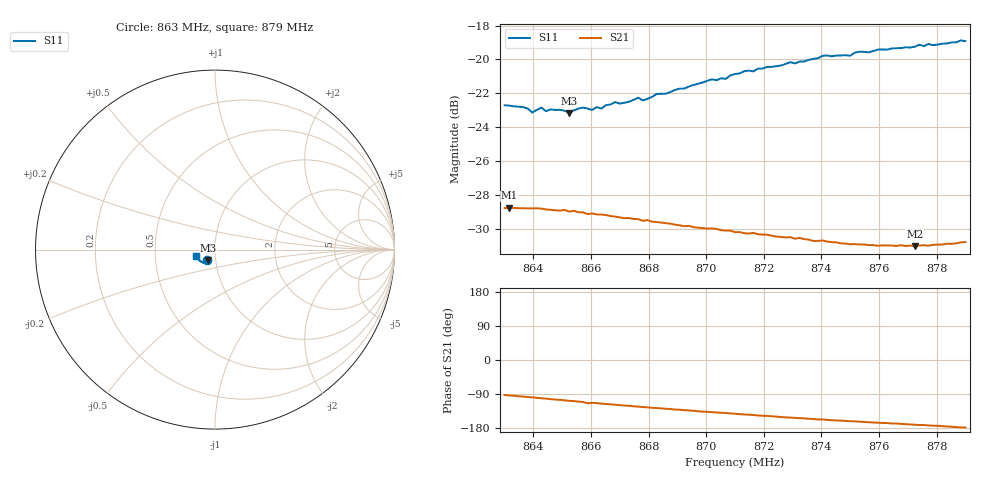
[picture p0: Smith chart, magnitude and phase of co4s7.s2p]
# HZ S RI R 50
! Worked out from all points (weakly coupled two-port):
!   101 points, 863 MHz to 879 MHz, reference 50 ohm
!   highest |S21| = -28.77 dB at 863.16 MHz (marker M1); lowest = -31.0 dB at 877.24 MHz (marker M2)
!   lowest |S11| = -23.2 dB at 865.24 MHz (marker M3), VSWR 1.15, Z = 46.1 - j5.41 ohm
!   |S11| at or under -10 dB: start of sweep to end of sweep
!   S12 and S22 are empty: the file has one direction only
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8.63e8  -0.0444 -0.0582  -0.00155 -0.0363  0 0  0 0
8.6316e8  -0.0433 -0.0589  -0.00232 -0.0364  0 0  0 0
8.638e8  -0.0415 -0.0584  -0.00485 -0.036  0 0  0 0
8.6396e8  -0.0396 -0.0573  -0.00543 -0.0359  0 0  0 0
8.6428e8  -0.0401 -0.0598  -0.00693 -0.0356  0 0  0 0
8.6444e8  -0.0389 -0.0585  -0.00743 -0.0353  0 0  0 0
8.6492e8  -0.0383 -0.0598  -0.00933 -0.0345  0 0  0 0
8.6524e8  -0.0377 -0.0584  -0.0108 -0.0338  0 0  0 0
8.6572e8  -0.0367 -0.062  -0.0126 -0.033  0 0  0 0
8.6636e8  -0.038 -0.0606  -0.0148 -0.0315  0 0  0 0
8.6684e8  -0.0375 -0.0647  -0.0162 -0.0303  0 0  0 0
8.6716e8  -0.0376 -0.0642  -0.0171 -0.0293  0 0  0 0
8.6764e8  -0.0395 -0.0662  -0.0184 -0.0283  0 0  0 0
8.678e8  -0.0387 -0.065  -0.0187 -0.0276  0 0  0 0
8.6844e8  -0.04 -0.0683  -0.0201 -0.0261  0 0  0 0
8.702e8  -0.0477 -0.0732  -0.0235 -0.0213  0 0  0 0
8.7068e8  -0.0494 -0.0723  -0.0238 -0.0202  0 0  0 0
8.71e8  -0.0529 -0.0735  -0.0243 -0.0191  0 0  0 0
8.7372e8  -0.0719 -0.0699  -0.0265 -0.012  0 0  0 0
8.7644e8  -0.0917 -0.0565  -0.0275 -0.00606  0 0  0 0
8.7724e8  -0.0959 -0.0518  -0.0277 -0.00445  0 0  0 0
8.79e8  -0.1073 -0.0363  -0.0288 -0.000934  0 0  0 0
